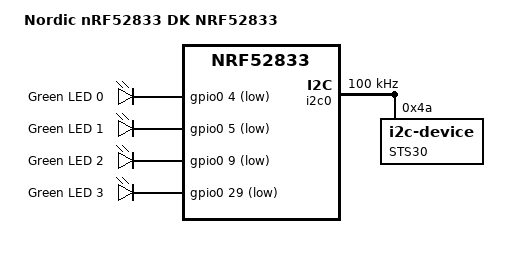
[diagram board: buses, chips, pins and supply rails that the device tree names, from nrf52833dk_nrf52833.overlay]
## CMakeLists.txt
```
cmake_minimum_required(VERSION 3.20.0)
find_package(Zephyr REQUIRED HINTS $ENV{ZEPHYR_BASE})

project(sts30)

target_sources(app PRIVATE src/main.c)
```

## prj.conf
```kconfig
CONFIG_SENSOR=y
CONFIG_CBPRINTF_FP_SUPPORT=y
CONFIG_I2C=y
```

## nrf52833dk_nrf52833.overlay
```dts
&i2c0 {
    compatible = "nordic,nrf-twim";
    status = "okay";

    clock-frequency = <I2C_BITRATE_STANDARD>;

    mysensor: mysensor@4a {
        status = "okay";
        compatible = "i2c-device";
        reg = <0x4a>;

        label = "STS30";

    };
};

/* for node */

/ {
	model = "Nordic nRF52833 DK NRF52833";
    compatible = "nordic,nrf52833-dk-nrf52833";

	chosen {
		zephyr,console = &uart0;
		zephyr,shell-uart = &uart0;
		zephyr,uart-mcumgr = &uart0;
		zephyr,bt-mon-uart = &uart0;
		zephyr,bt-c2h-uart = &uart0;
		zephyr,sram = &sram0;
		zephyr,flash = &flash0;
		zephyr,code-partition = &slot0_partition;
	};

	leds {
		compatible = "gpio-leds";
		led0: led_0 {
			gpios = <&gpio0 4 GPIO_ACTIVE_LOW>;
			label = "Green LED 0";
		};
		led1: led_1 {
			gpios = <&gpio0 5 GPIO_ACTIVE_LOW>;
			label = "Green LED 1";
		};
		led2: led_2 {
			gpios = <&gpio0 9 GPIO_ACTIVE_LOW>;
			label = "Green LED 2";
		};
		led3: led_3 {
			gpios = <&gpio0 29 GPIO_ACTIVE_LOW>;
			label = "Green LED 3";
		};
	};
};
&pinctrl {
	uart0_default: uart0_default {
		group1 {
			psels = <NRF_PSEL(UART_TX, 0, 29)>, //6   for nrf52dk5832 / 5840
				<NRF_PSEL(UART_RX, 0, 28)>;   //8	  for nrf52dk5832
				
		};
	};

	uart0_sleep: uart0_sleep {
		group1 {
			psels = <NRF_PSEL(UART_TX, 0, 29)>,    //6
				<NRF_PSEL(UART_RX, 0, 28)>;        //8
				
			low-power-enable;
		};
	};
	i2c0_default: i2c0_default {
		group1 {
			psels = <NRF_PSEL(TWIM_SDA, 0, 2)>,  
				<NRF_PSEL(TWIM_SCL, 0, 3)>;      
		};
	};

	i2c0_sleep: i2c0_sleep {
		group1 {
			psels = <NRF_PSEL(TWIM_SDA, 0, 2)>,   
				<NRF_PSEL(TWIM_SCL, 0, 3)>;        
			low-power-enable;
		};
	};
};
```

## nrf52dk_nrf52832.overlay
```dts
&i2c0 {
    compatible = "nordic,nrf-twim";
    status = "okay";

    clock-frequency = <I2C_BITRATE_STANDARD>;

    mysensor: mysensor@4a {
        status = "okay";
        compatible = "i2c-device";
        reg = <0x4a>;

        label = "STS30";

    };
};
```

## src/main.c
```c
#include <zephyr/kernel.h>
#include <zephyr/device.h>
#include <zephyr/devicetree.h>
#include <zephyr/drivers/i2c.h>
#include <zephyr/sys/printk.h>
#include <stdio.h>

#define SLEEP_TIME_MS   1000  // 1 second sleep time
#define STS3X_I2C_ADDR  0x4A  // Define the I2C address for STS3x sensor
#define STS3X_MEASURE_CMD 0x240B  // Command for single-shot measurement with medium repeatability

#define I2C_NODE DT_NODELABEL(mysensor)  // The I2C node label for the sensor

// Function to perform the soft reset on the STS3x sensor
static int16_t sts3x_soft_reset(const struct i2c_dt_spec *i2c_spec) {
    uint8_t reset_command[2] = {0x30, 0xA2};  // Soft reset command
    return i2c_write_dt(i2c_spec, reset_command, sizeof(reset_command));
}

// Function to measure the temperature using single-shot mode
static int16_t measure_temperature(const struct i2c_dt_spec *i2c_spec, float *temperature) {
    uint8_t command[2] = {STS3X_MEASURE_CMD >> 8, STS3X_MEASURE_CMD & 0xFF};  // Measurement command
    uint8_t temp_data[3];  // Buffer to store temperature data (2 bytes + 1 byte CRC)

    // Write the command and read the temperature data
    int ret = i2c_write_read_dt(i2c_spec, command, sizeof(command), temp_data, sizeof(temp_data));
    if (ret != 0) {
        return ret;
    }

    uint16_t raw_temp = (temp_data[0] << 8) | temp_data[1];  // Combine the 2 bytes of temperature data
    *temperature = -45.0 + 175.0 * ((float)raw_temp / 65535.0);  // Convert raw data to temperature

    return 0;
}

void main(void) {
    int ret;  // Variable to store return values from I2C operations
    float temperature = 0.0;  // Variable to store the measured temperature

    static const struct i2c_dt_spec dev_i2c = I2C_DT_SPEC_GET(I2C_NODE);  // I2C device specification

    // Check if the I2C bus is ready
    if (!device_is_ready(dev_i2c.bus)) {
        printk("I2C bus %s is not ready!\n", dev_i2c.bus->name);
        return;
    }

    // Perform a soft reset of the sensor
    ret = sts3x_soft_reset(&dev_i2c);
    if (ret != 0) {
        printk("Soft reset failed! Error: %d\n", ret);
        return;
    }

    // Delay to allow the sensor to reset
    k_msleep(100);

    while (1) {
        // Measure the temperature using single-shot mode
        ret = measure_temperature(&dev_i2c, &temperature);
        if (ret != 0) {
            printk("Temperature measurement failed! Error: %d\n", ret);
            return;
        }

        // Print the temperature in Celsius and Fahrenheit
        printk("Temperature in Celsius: %.2f °C\n", temperature);
        printk("Temperature in Fahrenheit: %.2f F\n", (temperature * 1.8) + 32);

        // Sleep for the defined time
        k_msleep(SLEEP_TIME_MS);
    }
}
```
